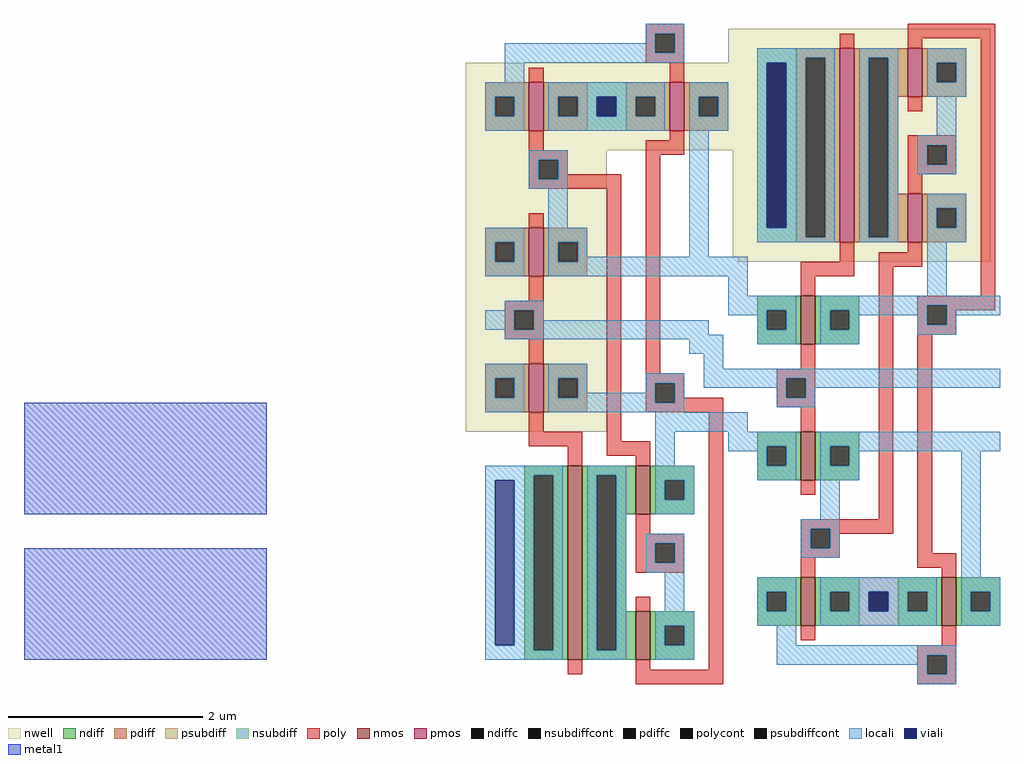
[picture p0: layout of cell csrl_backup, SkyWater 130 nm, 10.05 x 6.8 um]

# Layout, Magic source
magic
tech sky130A
<< nwell >>
rect 650 560 920 595
rect 380 470 920 560
rect 380 180 525 470
rect 655 360 920 470
rect 660 355 920 360
<< nmos >>
rect 725 270 740 320
rect 485 -55 500 145
rect 555 95 570 145
rect 555 -55 570 -5
rect 725 130 740 180
rect 725 -20 740 30
rect 870 -20 885 30
<< pmos >>
rect 445 490 460 540
rect 590 490 605 540
rect 445 340 460 390
rect 445 200 460 250
rect 765 375 780 575
rect 835 525 850 575
rect 835 375 850 425
<< ndiff >>
rect 680 305 725 320
rect 680 285 690 305
rect 710 285 725 305
rect 680 270 725 285
rect 740 305 785 320
rect 740 285 755 305
rect 775 285 785 305
rect 740 270 785 285
rect 440 135 485 145
rect 440 -45 450 135
rect 470 -45 485 135
rect 440 -55 485 -45
rect 500 135 555 145
rect 500 -45 515 135
rect 535 95 555 135
rect 570 130 615 145
rect 570 110 585 130
rect 605 110 615 130
rect 570 95 615 110
rect 535 -5 545 95
rect 535 -45 555 -5
rect 500 -55 555 -45
rect 570 -20 615 -5
rect 570 -40 585 -20
rect 605 -40 615 -20
rect 570 -55 615 -40
rect 680 165 725 180
rect 680 145 690 165
rect 710 145 725 165
rect 680 130 725 145
rect 740 165 785 180
rect 740 145 755 165
rect 775 145 785 165
rect 740 130 785 145
rect 680 15 725 30
rect 680 -5 690 15
rect 710 -5 725 15
rect 680 -20 725 -5
rect 740 15 785 30
rect 825 15 870 30
rect 740 -5 755 15
rect 775 -5 785 15
rect 825 -5 835 15
rect 855 -5 870 15
rect 740 -20 785 -5
rect 825 -20 870 -5
rect 885 15 930 30
rect 885 -5 900 15
rect 920 -5 930 15
rect 885 -20 930 -5
<< pdiff >>
rect 720 565 765 575
rect 400 525 445 540
rect 400 505 410 525
rect 430 505 445 525
rect 400 490 445 505
rect 460 525 505 540
rect 545 525 590 540
rect 460 505 475 525
rect 495 505 505 525
rect 545 505 555 525
rect 575 505 590 525
rect 460 490 505 505
rect 545 490 590 505
rect 605 525 650 540
rect 605 505 620 525
rect 640 505 650 525
rect 605 490 650 505
rect 400 375 445 390
rect 400 355 410 375
rect 430 355 445 375
rect 400 340 445 355
rect 460 375 505 390
rect 460 355 475 375
rect 495 355 505 375
rect 460 340 505 355
rect 400 235 445 250
rect 400 215 410 235
rect 430 215 445 235
rect 400 200 445 215
rect 460 235 505 250
rect 460 215 475 235
rect 495 215 505 235
rect 460 200 505 215
rect 720 380 730 565
rect 750 380 765 565
rect 720 375 765 380
rect 780 565 835 575
rect 780 380 795 565
rect 815 525 835 565
rect 850 560 895 575
rect 850 540 865 560
rect 885 540 895 560
rect 850 525 895 540
rect 815 425 825 525
rect 815 380 835 425
rect 780 375 835 380
rect 850 410 895 425
rect 850 390 865 410
rect 885 390 895 410
rect 850 375 895 390
<< ndiffc >>
rect 690 285 710 305
rect 755 285 775 305
rect 450 -45 470 135
rect 515 -45 535 135
rect 585 110 605 130
rect 585 -40 605 -20
rect 690 145 710 165
rect 755 145 775 165
rect 690 -5 710 15
rect 755 -5 775 15
rect 835 -5 855 15
rect 900 -5 920 15
<< pdiffc >>
rect 410 505 430 525
rect 475 505 495 525
rect 555 505 575 525
rect 620 505 640 525
rect 410 355 430 375
rect 475 355 495 375
rect 410 215 430 235
rect 475 215 495 235
rect 730 380 750 565
rect 795 380 815 565
rect 865 540 885 560
rect 865 390 885 410
<< psubdiff >>
rect 785 15 825 30
rect 785 -5 795 15
rect 815 -5 825 15
rect 785 -20 825 -5
<< nsubdiff >>
rect 680 560 720 575
rect 505 525 545 540
rect 505 505 515 525
rect 535 505 545 525
rect 505 490 545 505
rect 680 390 690 560
rect 710 390 720 560
rect 680 375 720 390
<< psubdiffcont >>
rect 795 -5 815 15
<< nsubdiffcont >>
rect 515 505 535 525
rect 690 390 710 560
<< poly >>
rect 565 590 605 600
rect 565 570 575 590
rect 595 570 605 590
rect 765 575 780 590
rect 835 585 925 600
rect 835 575 850 585
rect 565 560 605 570
rect 445 540 460 555
rect 590 540 605 560
rect 445 470 460 490
rect 590 480 605 490
rect 445 460 485 470
rect 445 440 455 460
rect 475 445 485 460
rect 565 465 605 480
rect 475 440 540 445
rect 445 430 540 440
rect 445 390 460 405
rect 445 315 460 340
rect 420 305 460 315
rect 420 285 430 305
rect 450 285 460 305
rect 420 275 460 285
rect 445 250 460 275
rect 445 180 460 200
rect 445 165 500 180
rect 485 145 500 165
rect 525 170 540 430
rect 565 240 580 465
rect 835 510 850 525
rect 835 475 885 485
rect 835 455 855 475
rect 875 455 885 475
rect 835 445 885 455
rect 835 425 850 445
rect 765 355 780 375
rect 835 365 850 375
rect 725 340 780 355
rect 805 350 850 365
rect 725 320 740 340
rect 725 245 740 270
rect 565 230 605 240
rect 565 210 575 230
rect 595 215 605 230
rect 700 235 740 245
rect 700 215 710 235
rect 730 215 740 235
rect 595 210 645 215
rect 565 200 645 210
rect 700 205 740 215
rect 525 155 570 170
rect 555 145 570 155
rect 555 75 570 95
rect 555 65 605 75
rect 555 45 575 65
rect 595 45 605 65
rect 555 35 605 45
rect 555 -5 570 10
rect 485 -70 500 -55
rect 555 -65 570 -55
rect 630 -65 645 200
rect 725 180 740 205
rect 725 115 740 130
rect 805 90 820 350
rect 910 320 925 585
rect 725 80 820 90
rect 725 60 735 80
rect 755 75 820 80
rect 845 310 925 320
rect 845 290 855 310
rect 875 305 925 310
rect 875 290 885 305
rect 845 280 885 290
rect 755 60 765 75
rect 725 50 765 60
rect 845 55 860 280
rect 725 30 740 50
rect 845 40 885 55
rect 870 30 885 40
rect 725 -35 740 -20
rect 870 -40 885 -20
rect 555 -80 645 -65
rect 845 -50 885 -40
rect 845 -70 855 -50
rect 875 -70 885 -50
rect 845 -80 885 -70
<< polycont >>
rect 575 570 595 590
rect 455 440 475 460
rect 430 285 450 305
rect 855 455 875 475
rect 575 210 595 230
rect 710 215 730 235
rect 575 45 595 65
rect 735 60 755 80
rect 855 290 875 310
rect 855 -70 875 -50
<< locali >>
rect 565 590 605 600
rect 565 580 575 590
rect 420 570 575 580
rect 595 570 605 590
rect 420 560 605 570
rect 680 565 760 575
rect 680 560 730 565
rect 420 540 440 560
rect 400 525 440 540
rect 400 505 410 525
rect 430 505 440 525
rect 400 490 440 505
rect 465 525 585 540
rect 465 505 475 525
rect 495 505 515 525
rect 535 505 555 525
rect 575 505 585 525
rect 465 490 585 505
rect 610 525 650 540
rect 610 505 620 525
rect 640 505 650 525
rect 610 490 650 505
rect 445 460 485 470
rect 445 440 455 460
rect 475 440 485 460
rect 445 430 485 440
rect 465 390 485 430
rect 400 375 440 390
rect 400 355 410 375
rect 430 355 440 375
rect 400 340 440 355
rect 465 375 505 390
rect 465 355 475 375
rect 495 360 505 375
rect 610 360 630 490
rect 680 390 690 560
rect 710 390 730 560
rect 680 380 730 390
rect 750 380 760 565
rect 680 375 760 380
rect 785 565 825 575
rect 785 380 795 565
rect 815 380 825 565
rect 855 560 895 575
rect 855 540 865 560
rect 885 540 895 560
rect 855 525 895 540
rect 865 485 885 525
rect 845 475 885 485
rect 845 455 855 475
rect 875 455 885 475
rect 845 445 885 455
rect 785 375 825 380
rect 855 410 895 425
rect 855 390 865 410
rect 885 390 895 410
rect 855 375 895 390
rect 495 355 670 360
rect 465 340 670 355
rect 650 320 670 340
rect 855 320 875 375
rect 420 305 460 315
rect 400 285 430 305
rect 450 295 460 305
rect 650 305 720 320
rect 650 300 690 305
rect 450 285 630 295
rect 420 280 630 285
rect 680 285 690 300
rect 710 285 720 305
rect 420 275 645 280
rect 610 260 645 275
rect 680 270 720 285
rect 745 310 930 320
rect 745 305 855 310
rect 745 285 755 305
rect 775 300 855 305
rect 775 285 785 300
rect 745 270 785 285
rect 845 290 855 300
rect 875 300 930 310
rect 875 290 885 300
rect 845 280 885 290
rect 400 235 440 250
rect 400 215 410 235
rect 430 215 440 235
rect 400 200 440 215
rect 465 235 505 250
rect 625 245 645 260
rect 465 215 475 235
rect 495 220 505 235
rect 565 230 605 240
rect 565 220 575 230
rect 495 215 575 220
rect 465 210 575 215
rect 595 210 605 230
rect 625 235 930 245
rect 625 225 710 235
rect 465 200 605 210
rect 700 215 710 225
rect 730 225 930 235
rect 730 215 740 225
rect 700 205 740 215
rect 575 180 670 200
rect 575 145 595 180
rect 650 165 720 180
rect 650 160 690 165
rect 680 145 690 160
rect 710 145 720 165
rect 400 135 480 145
rect 400 130 450 135
rect 400 -40 410 130
rect 430 -40 450 130
rect 400 -45 450 -40
rect 470 -45 480 135
rect 400 -55 480 -45
rect 505 135 545 145
rect 505 -45 515 135
rect 535 -45 545 135
rect 575 130 615 145
rect 680 130 720 145
rect 745 165 930 180
rect 745 145 755 165
rect 775 160 930 165
rect 775 145 785 160
rect 745 130 785 145
rect 575 110 585 130
rect 605 110 615 130
rect 575 95 615 110
rect 745 90 765 130
rect 725 80 765 90
rect 565 65 605 75
rect 565 45 575 65
rect 595 45 605 65
rect 725 60 735 80
rect 755 60 765 80
rect 725 50 765 60
rect 565 35 605 45
rect 585 -5 605 35
rect 890 30 910 160
rect 680 15 720 30
rect 680 -5 690 15
rect 710 -5 720 15
rect 505 -55 545 -45
rect 575 -20 615 -5
rect 680 -20 720 -5
rect 745 15 865 30
rect 745 -5 755 15
rect 775 -5 795 15
rect 815 -5 835 15
rect 855 -5 865 15
rect 745 -20 865 -5
rect 890 15 930 30
rect 890 -5 900 15
rect 920 -5 930 15
rect 890 -20 930 -5
rect 575 -40 585 -20
rect 605 -40 615 -20
rect 575 -55 615 -40
rect 700 -40 720 -20
rect 700 -50 885 -40
rect 700 -60 855 -50
rect 845 -70 855 -60
rect 875 -70 885 -50
rect 845 -80 885 -70
<< viali >>
rect 515 505 535 525
rect 690 390 710 560
rect 410 -40 430 130
rect 795 -5 815 15
<< metal1 >>
rect -75 95 175 210
rect -75 -55 175 60
<< end >>
